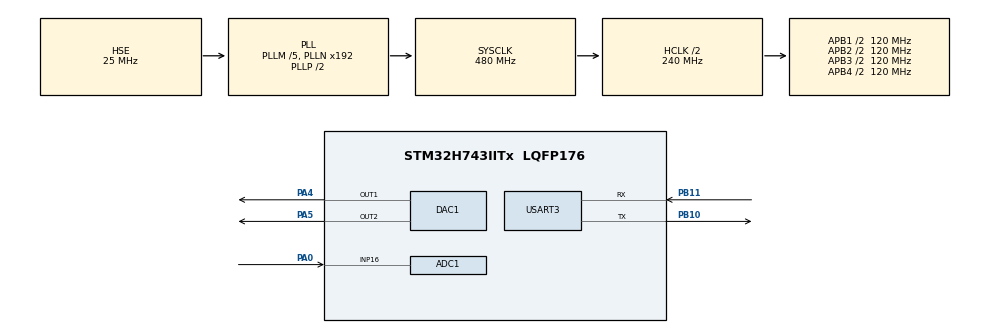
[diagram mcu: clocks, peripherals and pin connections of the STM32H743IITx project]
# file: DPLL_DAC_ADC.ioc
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ADC1.Channel-0\#ChannelRegularConversion=ADC_CHANNEL_16
ADC1.ConversionDataManagement=ADC_CONVERSIONDATA_DMA_ONESHOT
ADC1.ExternalTrigConv=ADC_EXTERNALTRIG_T3_TRGO
ADC1.NbrOfConversionFlag=1
ADC1.OffsetNumber-0\#ChannelRegularConversion=ADC_OFFSET_NONE
ADC1.OffsetSignedSaturation-0\#ChannelRegularConversion=DISABLE
ADC1.Rank-0\#ChannelRegularConversion=1
ADC1.SamplingTime-0\#ChannelRegularConversion=ADC_SAMPLETIME_1CYCLE_5
ADC1.master=1
DAC1.DAC1_OutputBuffer-DAC_OUT1=DAC_OUTPUTBUFFER_DISABLE
DAC1.DAC2_OutputBuffer-DAC_OUT2=DAC_OUTPUTBUFFER_DISABLE
DAC1.DAC_Channel-DAC_OUT1=DAC_CHANNEL_1
DAC1.DAC_Channel-DAC_OUT2=DAC_CHANNEL_2
DAC1.DAC_Trigger-DAC_OUT1=DAC_TRIGGER_T4_TRGO
DAC1.DAC_Trigger-DAC_OUT2=DAC_TRIGGER_T5_TRGO
Dma.ADC1.0.Direction=DMA_PERIPH_TO_MEMORY
Dma.ADC1.0.EventEnable=DISABLE
Dma.ADC1.0.FIFOMode=DMA_FIFOMODE_DISABLE
Dma.ADC1.0.Instance=DMA1_Stream0
Dma.ADC1.0.MemDataAlignment=DMA_MDATAALIGN_HALFWORD
Dma.ADC1.0.MemInc=DMA_MINC_ENABLE
Dma.ADC1.0.Mode=DMA_NORMAL
Dma.ADC1.0.PeriphDataAlignment=DMA_PDATAALIGN_HALFWORD
Dma.ADC1.0.PeriphInc=DMA_PINC_DISABLE
Dma.ADC1.0.Polarity=HAL_DMAMUX_REQ_GEN_RISING
Dma.ADC1.0.Priority=DMA_PRIORITY_LOW
Dma.ADC1.0.RequestNumber=1
Dma.ADC1.0.SignalID=NONE
Dma.ADC1.0.SyncEnable=DISABLE
Dma.ADC1.0.SyncPolarity=HAL_DMAMUX_SYNC_NO_EVENT
Dma.ADC1.0.SyncRequestNumber=1
Dma.ADC1.0.SyncSignalID=NONE
Dma.DAC1_CH1.1.Direction=DMA_MEMORY_TO_PERIPH
Dma.DAC1_CH1.1.EventEnable=DISABLE
Dma.DAC1_CH1.1.FIFOMode=DMA_FIFOMODE_DISABLE
Dma.DAC1_CH1.1.Instance=DMA1_Stream1
Dma.DAC1_CH1.1.MemDataAlignment=DMA_MDATAALIGN_HALFWORD
Dma.DAC1_CH1.1.MemInc=DMA_MINC_ENABLE
Dma.DAC1_CH1.1.Mode=DMA_CIRCULAR
Dma.DAC1_CH1.1.PeriphDataAlignment=DMA_PDATAALIGN_HALFWORD
Dma.DAC1_CH1.1.PeriphInc=DMA_PINC_DISABLE
Dma.DAC1_CH1.1.Polarity=HAL_DMAMUX_REQ_GEN_RISING
Dma.DAC1_CH1.1.Priority=DMA_PRIORITY_LOW
Dma.DAC1_CH1.1.RequestNumber=1
Dma.DAC1_CH1.1.SignalID=NONE
Dma.DAC1_CH1.1.SyncEnable=DISABLE
Dma.DAC1_CH1.1.SyncPolarity=HAL_DMAMUX_SYNC_NO_EVENT
Dma.DAC1_CH1.1.SyncRequestNumber=1
Dma.DAC1_CH1.1.SyncSignalID=NONE
Dma.DAC1_CH2.2.Direction=DMA_MEMORY_TO_PERIPH
Dma.DAC1_CH2.2.EventEnable=DISABLE
Dma.DAC1_CH2.2.FIFOMode=DMA_FIFOMODE_DISABLE
Dma.DAC1_CH2.2.Instance=DMA2_Stream1
Dma.DAC1_CH2.2.MemDataAlignment=DMA_MDATAALIGN_HALFWORD
Dma.DAC1_CH2.2.MemInc=DMA_MINC_ENABLE
Dma.DAC1_CH2.2.Mode=DMA_CIRCULAR
Dma.DAC1_CH2.2.PeriphDataAlignment=DMA_PDATAALIGN_HALFWORD
Dma.DAC1_CH2.2.PeriphInc=DMA_PINC_DISABLE
Dma.DAC1_CH2.2.Polarity=HAL_DMAMUX_REQ_GEN_RISING
Dma.DAC1_CH2.2.Priority=DMA_PRIORITY_LOW
Dma.DAC1_CH2.2.RequestNumber=1
Dma.DAC1_CH2.2.SignalID=NONE
Dma.DAC1_CH2.2.SyncEnable=DISABLE
Dma.DAC1_CH2.2.SyncPolarity=HAL_DMAMUX_SYNC_NO_EVENT
Dma.DAC1_CH2.2.SyncRequestNumber=1
Dma.DAC1_CH2.2.SyncSignalID=NONE
Dma.Request0=ADC1
Dma.Request1=DAC1_CH1
Dma.Request2=DAC1_CH2
Mcu.Family=STM32H7
Mcu.Name=STM32H743IITx
Mcu.Package=LQFP176
NVIC.DMA1_Stream0_IRQn=true\:0\:0\:true\:false\:true\:false\:true\:true
NVIC.DMA1_Stream1_IRQn=true\:0\:0\:true\:false\:true\:false\:true\:true
NVIC.DMA2_Stream1_IRQn=true\:0\:0\:false\:false\:true\:false\:true\:true
NVIC.PriorityGroup=NVIC_PRIORITYGROUP_4
NVIC.TIM6_DAC_IRQn=true\:0\:0\:false\:false\:true\:true\:true\:true
PA0.Mode=IN16-Single-Ended
PA0.Signal=ADC1_INP16
PA13\ (JTMS/SWDIO).Mode=Serial_Wire
PA13\ (JTMS/SWDIO).Signal=DEBUG_JTMS-SWDIO
PA14\ (JTCK/SWCLK).Mode=Serial_Wire
PA14\ (JTCK/SWCLK).Signal=DEBUG_JTCK-SWCLK
PA4.Signal=COMP_DAC11_group
PA5.Signal=COMP_DAC12_group
PB10.Mode=Asynchronous
PB10.Signal=USART3_TX
PB11.Mode=Asynchronous
PB11.Signal=USART3_RX
PC14-OSC32_IN\ (OSC32_IN).Mode=LSE-External-Oscillator
PC14-OSC32_IN\ (OSC32_IN).Signal=RCC_OSC32_IN
PC15-OSC32_OUT\ (OSC32_OUT).Mode=LSE-External-Oscillator
PC15-OSC32_OUT\ (OSC32_OUT).Signal=RCC_OSC32_OUT
PH0-OSC_IN\ (PH0).Mode=HSE-External-Oscillator
PH0-OSC_IN\ (PH0).Signal=RCC_OSC_IN
PH1-OSC_OUT\ (PH1).Mode=HSE-External-Oscillator
PH1-OSC_OUT\ (PH1).Signal=RCC_OSC_OUT
ProjectManager.HeapSize=0x200
ProjectManager.StackSize=0x800
ProjectManager.TargetToolchain=MDK-ARM V5.32
RCC.ADCFreq_Value=75000000
RCC.APB1Freq_Value=120000000
RCC.APB2Freq_Value=120000000
RCC.APB3Freq_Value=120000000
RCC.APB4Freq_Value=120000000
RCC.CortexFreq_Value=480000000
RCC.D1PPRE=RCC_APB3_DIV2
RCC.D2PPRE1=RCC_APB1_DIV2
RCC.D2PPRE2=RCC_APB2_DIV2
RCC.D3PPRE=RCC_APB4_DIV2
RCC.DIVM1=5
RCC.DIVM2=2
RCC.DIVN1=192
RCC.DIVN2=12
RCC.HCLKFreq_Value=240000000
RCC.HPRE=RCC_HCLK_DIV2
RCC.PLL2FRACN=0
RCC.PLL2_VCI_Range=RCC_PLL2VCIRANGE_3
RCC.PLL3FRACN=0
RCC.PLLFRACN=0
RCC.PLLSourceVirtual=RCC_PLLSOURCE_HSE
RCC.SYSCLKFreq_VALUE=480000000
RCC.SYSCLKSource=RCC_SYSCLKSOURCE_PLLCLK
RCC.USBFreq_Value=480000000
SH.COMP_DAC11_group.0=DAC1_OUT1,DAC_OUT1
SH.COMP_DAC12_group.0=DAC1_OUT2,DAC_OUT2
TIM3.Period=240-1
TIM3.TIM_MasterOutputTrigger=TIM_TRGO_UPDATE
TIM4.Period=240-1
TIM4.TIM_MasterOutputTrigger=TIM_TRGO_UPDATE
TIM5.Period=240-1
TIM5.TIM_MasterOutputTrigger=TIM_TRGO_UPDATE
TIM6.TIM_MasterOutputTrigger=TIM_TRGO_UPDATE
USART3.VirtualMode-Asynchronous=VM_ASYNC
VP_MEMORYMAP_VS_MEMORYMAP.Mode=CurAppReg
VP_TIM3_VS_ClockSourceINT.Mode=Internal
VP_TIM4_VS_ClockSourceINT.Mode=Internal
VP_TIM5_VS_ClockSourceINT.Mode=Internal
VP_TIM6_VS_ClockSourceINT.Mode=Enable_Timer
VP_TIM6_VS_OPM.Mode=OPM_bit
board=custom

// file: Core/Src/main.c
/* USER CODE BEGIN Header */
  /**
    ******************************************************************************
    * @file           : main.c
    * @brief          : Main program body
    ******************************************************************************
    * @attention
    *
    * Copyright (c) 2025 STMicroelectronics.
    * All rights reserved.
    *
    * This software is licensed under terms that can be found in the LICENSE file
    * in the root directory of this software component.
    * If no LICENSE file comes with this software, it is provided AS-IS.
    *
    ******************************************************************************
    */
/* USER CODE END Header */
#include "main.h"
#include "adc.h"
#include "dac.h"
#include "dma.h"
#include "memorymap.h"
#include "tim.h"
#include "usart.h"
#include "gpio.h"

/* USER CODE BEGIN Includes */
  #include "MyFunction.h"
  #include "stdio.h"
/* USER CODE END Includes */

void SystemClock_Config(void);

/* USER CODE BEGIN 0 */

  //数组
  // extern uint32_t place1;
  // extern uint32_t place2;
  // extern uint32_t ctrl_word1;
  // extern uint32_t ctrl_word2;
  // extern uint32_t phase_word[2];
  // extern uint8_t phaseFlag[2];
  extern uint16_t gADC_Buffer[ADC_LEN];
  // extern Signal Wave[2];
  extern uint16_t DAC_Buffer1[WAVE_POINT];
  extern uint16_t DAC_Buffer2[WAVE_POINT];
  // extern uint16_t pData1[WAVE_POINT];
  // extern uint16_t pData2[WAVE_POINT];
  // extern float phase[2]; //相位

  //一些标志位
  volatile uint8_t ADC_ConvEndFlag = 0; // ADC转换完成 在HAL_ADC_ConvCpltCallback中断中置位
	volatile uint8_t gCheckWaveType = 1;
  volatile uint8_t do_ad_flag1 = 0;
  extern DAC_HandleTypeDef hdac1;

/* USER CODE END 0 */

int main(void)
{

  /* MCU Configuration--------------------------------------------------------*/

  /* Reset of all peripherals, Initializes the Flash interface and the Systick. */
  HAL_Init();

  /* Configure the system clock */
  SystemClock_Config();

  /* Initialize all configured peripherals */
  MX_GPIO_Init();
  MX_DMA_Init();
  MX_ADC1_Init();
  MX_DAC1_Init();
  MX_TIM3_Init();
  MX_TIM4_Init();
  MX_USART3_UART_Init();
  MX_TIM5_Init();
  MX_TIM6_Init();
  /* USER CODE BEGIN 2 */

    HAL_TIM_Base_Start(&htim3);
    HAL_ADCEx_Calibration_Start(&hadc1, ADC_CALIB_OFFSET, ADC_SINGLE_ENDED);
    HAL_ADC_Start_DMA(&hadc1,(uint32_t*)gADC_Buffer,ADC_LEN);

  /* USER CODE END 2 */

  /* Infinite loop */
  /* USER CODE BEGIN WHILE */
    while (1)
    {

      if(ADC_ConvEndFlag)
      {
        ADC_ConvEndFlag=0; //清除标志位
				if(gCheckWaveType)
				{
					gCheckWaveType=0;
					cal_2frqs();
					fft_cal_2types();
          Prepare_DAC_Buffer();

          HAL_DAC_Start_DMA(&hdac1, DAC_CHANNEL_1, (uint32_t*)DAC_Buffer1, WAVE_POINT, DAC_ALIGN_12B_R);//使能DAC
          HAL_DAC_Start_DMA(&hdac1, DAC_CHANNEL_2, (uint32_t*)DAC_Buffer2,  WAVE_POINT, DAC_ALIGN_12B_R);//使能DAC
          HAL_TIM_Base_Start(&htim4);
          HAL_TIM_Base_Start(&htim5);
				}

        else
        {
          Update_All_DAC_Delays();

        }

      }
    /* USER CODE END WHILE */

    }
}

void SystemClock_Config(void)
{
  RCC_OscInitTypeDef RCC_OscInitStruct = {0};
  RCC_ClkInitTypeDef RCC_ClkInitStruct = {0};

  /** Supply configuration update enable
  */
  HAL_PWREx_ConfigSupply(PWR_LDO_SUPPLY);

  /** Configure the main internal regulator output voltage
  */
  __HAL_PWR_VOLTAGESCALING_CONFIG(PWR_REGULATOR_VOLTAGE_SCALE1);

  while(!__HAL_PWR_GET_FLAG(PWR_FLAG_VOSRDY)) {}

  __HAL_RCC_SYSCFG_CLK_ENABLE();
  __HAL_PWR_VOLTAGESCALING_CONFIG(PWR_REGULATOR_VOLTAGE_SCALE0);

  while(!__HAL_PWR_GET_FLAG(PWR_FLAG_VOSRDY)) {}

  /** Initializes the RCC Oscillators according to the specified parameters
  * in the RCC_OscInitTypeDef structure.
  */
  RCC_OscInitStruct.OscillatorType = RCC_OSCILLATORTYPE_HSE;
  RCC_OscInitStruct.HSEState = RCC_HSE_ON;
  RCC_OscInitStruct.PLL.PLLState = RCC_PLL_ON;
  RCC_OscInitStruct.PLL.PLLSource = RCC_PLLSOURCE_HSE;
  RCC_OscInitStruct.PLL.PLLM = 5;
  RCC_OscInitStruct.PLL.PLLN = 192;
  RCC_OscInitStruct.PLL.PLLP = 2;
  RCC_OscInitStruct.PLL.PLLQ = 2;
  RCC_OscInitStruct.PLL.PLLR = 2;
  RCC_OscInitStruct.PLL.PLLRGE = RCC_PLL1VCIRANGE_2;
  RCC_OscInitStruct.PLL.PLLVCOSEL = RCC_PLL1VCOWIDE;
  RCC_OscInitStruct.PLL.PLLFRACN = 0;
  if (HAL_RCC_OscConfig(&RCC_OscInitStruct) != HAL_OK)
  {
    Error_Handler();
  }

  /** Initializes the CPU, AHB and APB buses clocks
  */
  RCC_ClkInitStruct.ClockType = RCC_CLOCKTYPE_HCLK|RCC_CLOCKTYPE_SYSCLK
                              |RCC_CLOCKTYPE_PCLK1|RCC_CLOCKTYPE_PCLK2
                              |RCC_CLOCKTYPE_D3PCLK1|RCC_CLOCKTYPE_D1PCLK1;
  RCC_ClkInitStruct.SYSCLKSource = RCC_SYSCLKSOURCE_PLLCLK;
  RCC_ClkInitStruct.SYSCLKDivider = RCC_SYSCLK_DIV1;
  RCC_ClkInitStruct.AHBCLKDivider = RCC_HCLK_DIV2;
  RCC_ClkInitStruct.APB3CLKDivider = RCC_APB3_DIV2;
  RCC_ClkInitStruct.APB1CLKDivider = RCC_APB1_DIV2;
  RCC_ClkInitStruct.APB2CLKDivider = RCC_APB2_DIV2;
  RCC_ClkInitStruct.APB4CLKDivider = RCC_APB4_DIV2;

  if (HAL_RCC_ClockConfig(&RCC_ClkInitStruct, FLASH_LATENCY_4) != HAL_OK)
  {
    Error_Handler();
  }
}

/* USER CODE BEGIN 4 */
  void HAL_ADC_ConvCpltCallback(ADC_HandleTypeDef *hadc)
  {
  if (hadc==&hadc1)
    {
      UNUSED(hadc);
      HAL_ADC_Stop(hadc);
      ADC_ConvEndFlag = 1;
    }
  }

  // void HAL_DAC_ConvHalfCpltCallbackCh1(DAC_HandleTypeDef *hdac)
  // {
  //   for(uint16_t i=0;i<WAVE_POINT/2;i++)
  //   {
  //     pData1[i]=DAC_Buffer1[place1>>21];
  //     pData2[i]=DAC_Buffer2[place2>>21];
  //     place1+=ctrl_word1;
  //     place2+=ctrl_word2;
  //   }

  // }

  void HAL_DAC_ConvCpltCallbackCh1(DAC_HandleTypeDef *hdac)
  {
		HAL_ADC_Start_DMA(&hadc1,(uint32_t*)gADC_Buffer,ADC_LEN);

  }
// void HAL_TIM_PeriodElapsedCallback(TIM_HandleTypeDef *htim)
// {

//   HAL_TIM_Base_Start(&htim4);
// }

/* USER CODE END 4 */

void Error_Handler(void)
{
    __disable_irq();
    while (1)
    {
    }
}
